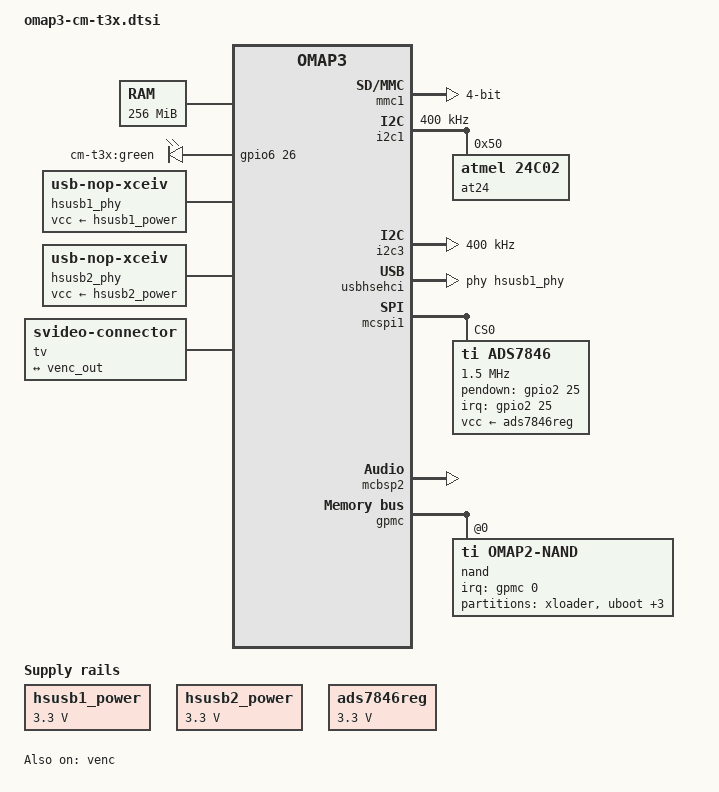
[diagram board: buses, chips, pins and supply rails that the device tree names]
// SPDX-License-Identifier: GPL-2.0
/*
 * Common support for CompuLab CM-T3x CoMs
 */

/ {

	memory@80000000 {
		device_type = "memory";
		reg = <0x80000000 0x10000000>; /* 256 MB */
	};

	leds {
		compatible = "gpio-leds";
		pinctrl-names = "default";
		pinctrl-0 = <&green_led_pins>;
		ledb {
			label = "cm-t3x:green";
			gpios = <&gpio6 26 GPIO_ACTIVE_HIGH>;  /* gpio186 */
			linux,default-trigger = "heartbeat";
		};
	};

	/* HS USB Port 1 Power */
	hsusb1_power: hsusb1_power_reg {
		compatible = "regulator-fixed";
		regulator-name = "hsusb1_vbus";
		regulator-min-microvolt = <3300000>;
		regulator-max-microvolt = <3300000>;
		startup-delay-us = <70000>;
	};

	/* HS USB Port 2 Power */
	hsusb2_power: hsusb2_power_reg {
		compatible = "regulator-fixed";
		regulator-name = "hsusb2_vbus";
		regulator-min-microvolt = <3300000>;
		regulator-max-microvolt = <3300000>;
		startup-delay-us = <70000>;
	};

	/* HS USB Host PHY on PORT 1 */
	hsusb1_phy: hsusb1_phy {
		compatible = "usb-nop-xceiv";
		vcc-supply = <&hsusb1_power>;
	};

	/* HS USB Host PHY on PORT 2 */
	hsusb2_phy: hsusb2_phy {
		compatible = "usb-nop-xceiv";
		vcc-supply = <&hsusb2_power>;
	};

	ads7846reg: ads7846-reg {
		compatible = "regulator-fixed";
		regulator-name = "ads7846-reg";
		regulator-min-microvolt = <3300000>;
		regulator-max-microvolt = <3300000>;
	};

	tv0: connector {
		compatible = "svideo-connector";
		label = "tv";

		port {
			tv_connector_in: endpoint {
				remote-endpoint = <&venc_out>;
			};
		};
	};
};

&omap3_pmx_core {

	uart3_pins: pinmux_uart3_pins {
		pinctrl-single,pins = <
			OMAP3_CORE1_IOPAD(0x219e, PIN_INPUT  | MUX_MODE0)	/* uart3_rx_irrx.uart3_rx_irrx */
			OMAP3_CORE1_IOPAD(0x21a0, PIN_OUTPUT | MUX_MODE0)	/* uart3_tx_irtx.uart3_tx_irtx */
		>;
	};

	mmc1_pins: pinmux_mmc1_pins {
		pinctrl-single,pins = <
			OMAP3_CORE1_IOPAD(0x2144, PIN_INPUT_PULLUP | MUX_MODE0)	/* sdmmc1_clk.sdmmc1_clk */
			OMAP3_CORE1_IOPAD(0x2146, PIN_INPUT_PULLUP | MUX_MODE0)	/* sdmmc1_cmd.sdmmc1_cmd */
			OMAP3_CORE1_IOPAD(0x2148, PIN_INPUT_PULLUP | MUX_MODE0)	/* sdmmc1_dat0.sdmmc1_dat0 */
			OMAP3_CORE1_IOPAD(0x214a, PIN_INPUT_PULLUP | MUX_MODE0)	/* sdmmc1_dat1.sdmmc1_dat1 */
			OMAP3_CORE1_IOPAD(0x214c, PIN_INPUT_PULLUP | MUX_MODE0)	/* sdmmc1_dat2.sdmmc1_dat2 */
			OMAP3_CORE1_IOPAD(0x214e, PIN_INPUT_PULLUP | MUX_MODE0)	/* sdmmc1_dat3.sdmmc1_dat3 */
		>;
	};

	green_led_pins: pinmux_green_led_pins {
		pinctrl-single,pins = <
			OMAP3_CORE1_IOPAD(0x21e2, PIN_OUTPUT | MUX_MODE4)	/* sys_clkout2.gpio_186 */
		>;
	};

	dss_dpi_pins_common: pinmux_dss_dpi_pins_common {
		pinctrl-single,pins = <
			OMAP3_CORE1_IOPAD(0x20d4, PIN_OUTPUT | MUX_MODE0)	/* dss_pclk.dss_pclk */
			OMAP3_CORE1_IOPAD(0x20d6, PIN_OUTPUT | MUX_MODE0)	/* dss_hsync.dss_hsync */
			OMAP3_CORE1_IOPAD(0x20d8, PIN_OUTPUT | MUX_MODE0)	/* dss_vsync.dss_vsync */
			OMAP3_CORE1_IOPAD(0x20da, PIN_OUTPUT | MUX_MODE0)	/* dss_acbias.dss_acbias */

			OMAP3_CORE1_IOPAD(0x20e8, PIN_OUTPUT | MUX_MODE0)	/* dss_data6.dss_data6 */
			OMAP3_CORE1_IOPAD(0x20ea, PIN_OUTPUT | MUX_MODE0)	/* dss_data7.dss_data7 */
			OMAP3_CORE1_IOPAD(0x20ec, PIN_OUTPUT | MUX_MODE0)	/* dss_data8.dss_data8 */
			OMAP3_CORE1_IOPAD(0x20ee, PIN_OUTPUT | MUX_MODE0)	/* dss_data9.dss_data9 */
			OMAP3_CORE1_IOPAD(0x20f0, PIN_OUTPUT | MUX_MODE0)	/* dss_data10.dss_data10 */
			OMAP3_CORE1_IOPAD(0x20f2, PIN_OUTPUT | MUX_MODE0)	/* dss_data11.dss_data11 */
			OMAP3_CORE1_IOPAD(0x20f4, PIN_OUTPUT | MUX_MODE0)	/* dss_data12.dss_data12 */
			OMAP3_CORE1_IOPAD(0x20f6, PIN_OUTPUT | MUX_MODE0)	/* dss_data13.dss_data13 */
			OMAP3_CORE1_IOPAD(0x20f8, PIN_OUTPUT | MUX_MODE0)	/* dss_data14.dss_data14 */
			OMAP3_CORE1_IOPAD(0x20fa, PIN_OUTPUT | MUX_MODE0)	/* dss_data15.dss_data15 */
			OMAP3_CORE1_IOPAD(0x20fc, PIN_OUTPUT | MUX_MODE0)	/* dss_data16.dss_data16 */
			OMAP3_CORE1_IOPAD(0x20fe, PIN_OUTPUT | MUX_MODE0)	/* dss_data17.dss_data17 */
			OMAP3_CORE1_IOPAD(0x2100, PIN_OUTPUT | MUX_MODE0)	/* dss_data18.dss_data18 */
			OMAP3_CORE1_IOPAD(0x2102, PIN_OUTPUT | MUX_MODE0)	/* dss_data19.dss_data19 */
			OMAP3_CORE1_IOPAD(0x2104, PIN_OUTPUT | MUX_MODE0)	/* dss_data20.dss_data20 */
			OMAP3_CORE1_IOPAD(0x2106, PIN_OUTPUT | MUX_MODE0)	/* dss_data21.dss_data21 */
			OMAP3_CORE1_IOPAD(0x2108, PIN_OUTPUT | MUX_MODE0)	/* dss_data22.dss_data22 */
			OMAP3_CORE1_IOPAD(0x210a, PIN_OUTPUT | MUX_MODE0)	/* dss_data23.dss_data23 */
		>;
	};

	dss_dpi_pins_cm_t35x: pinmux_dss_dpi_pins_cm_t35x {
		pinctrl-single,pins = <
			OMAP3_CORE1_IOPAD(0x20dc, PIN_OUTPUT | MUX_MODE0)	/* dss_data0.dss_data0 */
			OMAP3_CORE1_IOPAD(0x20de, PIN_OUTPUT | MUX_MODE0)	/* dss_data1.dss_data1 */
			OMAP3_CORE1_IOPAD(0x20e0, PIN_OUTPUT | MUX_MODE0)	/* dss_data2.dss_data2 */
			OMAP3_CORE1_IOPAD(0x20e2, PIN_OUTPUT | MUX_MODE0)	/* dss_data3.dss_data3 */
			OMAP3_CORE1_IOPAD(0x20e4, PIN_OUTPUT | MUX_MODE0)	/* dss_data4.dss_data4 */
			OMAP3_CORE1_IOPAD(0x20e6, PIN_OUTPUT | MUX_MODE0)	/* dss_data5.dss_data5 */
		>;
	};

	ads7846_pins: pinmux_ads7846_pins {
		pinctrl-single,pins = <
			OMAP3_CORE1_IOPAD(0x20ba, PIN_INPUT_PULLUP | MUX_MODE4)	/* gpmc_ncs6.gpio_57 */
		>;
	};

	mcspi1_pins: pinmux_mcspi1_pins {
		pinctrl-single,pins = <
			OMAP3_CORE1_IOPAD(0x21c8, PIN_INPUT | MUX_MODE0)	/* mcspi1_clk */
			OMAP3_CORE1_IOPAD(0x21ca, PIN_INPUT | MUX_MODE0)	/* mcspi1_simo */
			OMAP3_CORE1_IOPAD(0x21cc, PIN_INPUT | MUX_MODE0)	/* mcspi1_somi */
			OMAP3_CORE1_IOPAD(0x21ce, PIN_INPUT_PULLDOWN | MUX_MODE0) /* mcspi1_cs0 */
		>;
	};

	i2c1_pins: pinmux_i2c1_pins {
		pinctrl-single,pins = <
			OMAP3_CORE1_IOPAD(0x21ba, PIN_INPUT_PULLUP | MUX_MODE0)	/* i2c1_scl */
			OMAP3_CORE1_IOPAD(0x21bc, PIN_INPUT_PULLUP | MUX_MODE0)	/* i2c1_sda */
		>;
	};

	mcbsp2_pins: pinmux_mcbsp2_pins {
		pinctrl-single,pins = <
			OMAP3_CORE1_IOPAD(0x213c, PIN_INPUT | MUX_MODE0)	/* mcbsp2_fsx */
			OMAP3_CORE1_IOPAD(0x213e, PIN_INPUT | MUX_MODE0)	/* mcbsp2_clkx */
			OMAP3_CORE1_IOPAD(0x2140, PIN_INPUT | MUX_MODE0)	/* mcbsp2_dr */
			OMAP3_CORE1_IOPAD(0x2142, PIN_OUTPUT | MUX_MODE0)	/* mcbsp2_dx */
		>;
	};
};

&uart3 {
	pinctrl-names = "default";
	pinctrl-0 = <&uart3_pins>;
};

&mmc1 {
	pinctrl-names = "default";
	pinctrl-0 = <&mmc1_pins>;
	bus-width = <4>;
};

&mmc3 {
	status = "disabled";
};

&i2c1 {
	pinctrl-names = "default";
	pinctrl-0 = <&i2c1_pins>;

	clock-frequency = <400000>;

	at24@50 {
		compatible = "atmel,24c02";
		pagesize = <16>;
		reg = <0x50>;
	};
};

&i2c3 {
	clock-frequency = <400000>;
};

&usbhshost {
	port1-mode = "ehci-phy";
	port2-mode = "ehci-phy";
};

&usbhsehci {
	phys = <&hsusb1_phy &hsusb2_phy>;
};

&mcspi1 {
	pinctrl-names = "default";
	pinctrl-0 = <&mcspi1_pins>;

	/* touch controller */
	ads7846@0 {
		pinctrl-names = "default";
		pinctrl-0 = <&ads7846_pins>;

		compatible = "ti,ads7846";
		vcc-supply = <&ads7846reg>;

		reg = <0>;			/* CS0 */
		spi-max-frequency = <1500000>;

		interrupt-parent = <&gpio2>;
		interrupts = <25 0>;		/* gpio_57 */
		pendown-gpio = <&gpio2 25 GPIO_ACTIVE_HIGH>;

		ti,x-min = /bits/ 16 <0x0>;
		ti,x-max = /bits/ 16 <0x0fff>;
		ti,y-min = /bits/ 16 <0x0>;
		ti,y-max = /bits/ 16 <0x0fff>;

		ti,x-plate-ohms = /bits/ 16 <180>;
		ti,pressure-max = /bits/ 16 <255>;

		ti,debounce-max = /bits/ 16 <30>;
		ti,debounce-tol = /bits/ 16 <10>;
		ti,debounce-rep = /bits/ 16 <1>;

		wakeup-source;
	};
};

&venc {
	status = "ok";

	port {
		venc_out: endpoint {
			remote-endpoint = <&tv_connector_in>;
			ti,channels = <2>;
		};
	};
};

&mcbsp2 {
	status = "ok";

	pinctrl-names = "default";
	pinctrl-0 = <&mcbsp2_pins>;
};

&gpmc {
	ranges = <0 0 0x30000000 0x01000000>;	/* CS0: 16MB for NAND */

	nand@0,0 {
		compatible = "ti,omap2-nand";
		reg = <0 0 4>;	/* CS0, offset 0, IO size 4 */
		interrupt-parent = <&gpmc>;
		interrupts = <0 IRQ_TYPE_NONE>, /* fifoevent */
			     <1 IRQ_TYPE_NONE>;	/* termcount */
		nand-bus-width = <8>;
		gpmc,device-width = <1>;
		ti,nand-ecc-opt = "sw";

		gpmc,cs-on-ns = <0>;
		gpmc,cs-rd-off-ns = <120>;
		gpmc,cs-wr-off-ns = <120>;

		gpmc,adv-on-ns = <0>;
		gpmc,adv-rd-off-ns = <120>;
		gpmc,adv-wr-off-ns = <120>;

		gpmc,we-on-ns = <6>;
		gpmc,we-off-ns = <90>;

		gpmc,oe-on-ns = <6>;
		gpmc,oe-off-ns = <90>;

		gpmc,page-burst-access-ns = <6>;
		gpmc,access-ns = <72>;
		gpmc,cycle2cycle-delay-ns = <60>;

		gpmc,rd-cycle-ns = <120>;
		gpmc,wr-cycle-ns = <120>;
		gpmc,wr-access-ns = <186>;
		gpmc,wr-data-mux-bus-ns = <90>;

		#address-cells = <1>;
		#size-cells = <1>;

		partition@0 {
			label = "xloader";
			reg = <0 0x80000>;
		};
		partition@0x80000 {
			label = "uboot";
			reg = <0x80000 0x1e0000>;
		};
		partition@0x260000 {
			label = "uboot environment";
			reg = <0x260000 0x40000>;
		};
		partition@0x2a0000 {
			label = "linux";
			reg = <0x2a0000 0x400000>;
		};
		partition@0x6a0000 {
			label = "rootfs";
			reg = <0x6a0000 0x1f880000>;
		};
	};
};
